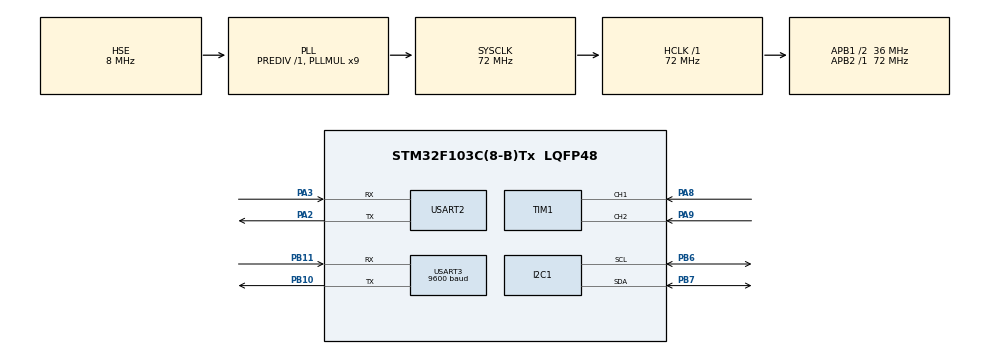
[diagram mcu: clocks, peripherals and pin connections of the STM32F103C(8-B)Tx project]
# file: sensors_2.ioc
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Mcu.Family=STM32F1
Mcu.Name=STM32F103C(8-B)Tx
Mcu.Package=LQFP48
NVIC.I2C1_ER_IRQn=true\:0\:0\:false\:false\:true\:true\:true
NVIC.I2C1_EV_IRQn=true\:0\:0\:false\:false\:true\:true\:true
NVIC.PriorityGroup=NVIC_PRIORITYGROUP_4
NVIC.TIM3_IRQn=true\:0\:0\:false\:false\:true\:true\:true
NVIC.USART2_IRQn=true\:0\:0\:false\:false\:true\:true\:true
NVIC.USART3_IRQn=true\:0\:0\:true\:false\:true\:true\:true
PA13.Mode=Serial_Wire
PA13.Signal=SYS_JTMS-SWDIO
PA14.Mode=Serial_Wire
PA14.Signal=SYS_JTCK-SWCLK
PA2.Mode=Asynchronous
PA2.Signal=USART2_TX
PA3.Mode=Asynchronous
PA3.Signal=USART2_RX
PA8.GPIO_PuPd=GPIO_PULLUP
PA8.Signal=S_TIM1_CH1
PA9.GPIO_PuPd=GPIO_PULLUP
PA9.Signal=S_TIM1_CH2
PB10.Mode=Asynchronous
PB10.Signal=USART3_TX
PB11.Mode=Asynchronous
PB11.Signal=USART3_RX
PB6.Mode=I2C
PB6.Signal=I2C1_SCL
PB7.Mode=I2C
PB7.Signal=I2C1_SDA
PD0-OSC_IN.Mode=HSE-External-Oscillator
PD0-OSC_IN.Signal=RCC_OSC_IN
PD1-OSC_OUT.Mode=HSE-External-Oscillator
PD1-OSC_OUT.Signal=RCC_OSC_OUT
ProjectManager.HeapSize=0x200
ProjectManager.StackSize=0x400
ProjectManager.TargetToolchain=STM32CubeIDE
RCC.AHBFreq_Value=72000000
RCC.APB1CLKDivider=RCC_HCLK_DIV2
RCC.APB1Freq_Value=36000000
RCC.APB1TimFreq_Value=72000000
RCC.APB2Freq_Value=72000000
RCC.APB2TimFreq_Value=72000000
RCC.HCLKFreq_Value=72000000
RCC.PLLMUL=RCC_PLL_MUL9
RCC.PLLSourceVirtual=RCC_PLLSOURCE_HSE
RCC.SYSCLKFreq_VALUE=72000000
RCC.SYSCLKSource=RCC_SYSCLKSOURCE_PLLCLK
RCC.USBFreq_Value=72000000
SH.S_TIM1_CH1.0=TIM1_CH1,Encoder_Interface
SH.S_TIM1_CH2.0=TIM1_CH2,Encoder_Interface
TIM1.AutoReloadPreload=TIM_AUTORELOAD_PRELOAD_ENABLE
TIM1.EncoderMode=TIM_ENCODERMODE_TI12
TIM1.IC1Filter=15
TIM1.IC2Filter=15
TIM3.AutoReloadPreload=TIM_AUTORELOAD_PRELOAD_ENABLE
USART2.VirtualMode=VM_ASYNC
USART3.BaudRate=9600
USART3.VirtualMode=VM_ASYNC
VP_TIM3_VS_ClockSourceINT.Mode=Internal
board=custom

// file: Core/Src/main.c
/* USER CODE BEGIN Header */
/**
  ******************************************************************************
  * @file           : main.c
  * @brief          : Main program body
  ******************************************************************************
  * @attention
  *
  * Copyright (c) 2022 STMicroelectronics.
  * All rights reserved.
  *
  * This software is licensed under terms that can be found in the LICENSE file
  * in the root directory of this software component.
  * If no LICENSE file comes with this software, it is provided AS-IS.
  *
  ******************************************************************************
  */
/* USER CODE END Header */
#include "main.h"
#include "i2c.h"
#include "tim.h"
#include "usart.h"
#include "gpio.h"

/* USER CODE BEGIN Includes */
#include "analysis.h"
#include "rotary.h"
#include "imu.h"
#include "uartRingBuffer.h"
#include "NMEA.h"
/* USER CODE END Includes */

/* USER CODE BEGIN PV */
extern char bufferRX[RX_SIZE];
extern char bufferTX[TX_SIZE];
char RMC[100];

/* USER CODE END PV */

void SystemClock_Config(void);

int main(void)
{

  /* MCU Configuration--------------------------------------------------------*/

  /* Reset of all peripherals, Initializes the Flash interface and the Systick. */
  HAL_Init();

  /* Configure the system clock */
  SystemClock_Config();

  /* Initialize all configured peripherals */
  MX_GPIO_Init();
  MX_USART2_UART_Init();
  MX_I2C1_Init();
  MX_TIM1_Init();
  MX_TIM3_Init();
  MX_USART3_UART_Init();
  /* USER CODE BEGIN 2 */
  Ringbuf_init();
  HAL_Delay(500);
  HAL_ROTARY_Start(&htim1, &htim3, 8000);
  HAL_IMU_Init(&hi2c1);
  HAL_Delay(2000);

  /* USER CODE END 2 */

  /* Infinite loop */
  while (1)
  {

    /* USER CODE BEGIN 3 */
	  if(Wait_for("RMC") == 1)
	  {
	  	Copy_upto("*", RMC);
	  	getGPSData();

	  }
	  HAL_IMU_Read(&hi2c1, &himu);
	  HAL_UART_Receive(&huart2, bufferRX, sizeof(bufferRX), 0xFFFF);
	  resetBuffersIndexes();
	  getNeighborData();
	  getCarData();
	  analysis();
	  generateTransmitBuffer();
	  HAL_UART_Transmit(&huart2, bufferTX, sizeof(bufferTX), 0xFF);
  }
  /* USER CODE END 3 */
}

void SystemClock_Config(void)
{
  RCC_OscInitTypeDef RCC_OscInitStruct = {0};
  RCC_ClkInitTypeDef RCC_ClkInitStruct = {0};

  /** Initializes the RCC Oscillators according to the specified parameters
  * in the RCC_OscInitTypeDef structure.
  */
  RCC_OscInitStruct.OscillatorType = RCC_OSCILLATORTYPE_HSE;
  RCC_OscInitStruct.HSEState = RCC_HSE_ON;
  RCC_OscInitStruct.HSEPredivValue = RCC_HSE_PREDIV_DIV1;
  RCC_OscInitStruct.HSIState = RCC_HSI_ON;
  RCC_OscInitStruct.PLL.PLLState = RCC_PLL_ON;
  RCC_OscInitStruct.PLL.PLLSource = RCC_PLLSOURCE_HSE;
  RCC_OscInitStruct.PLL.PLLMUL = RCC_PLL_MUL9;
  if (HAL_RCC_OscConfig(&RCC_OscInitStruct) != HAL_OK)
  {
    Error_Handler();
  }
  /** Initializes the CPU, AHB and APB buses clocks
  */
  RCC_ClkInitStruct.ClockType = RCC_CLOCKTYPE_HCLK|RCC_CLOCKTYPE_SYSCLK
                              |RCC_CLOCKTYPE_PCLK1|RCC_CLOCKTYPE_PCLK2;
  RCC_ClkInitStruct.SYSCLKSource = RCC_SYSCLKSOURCE_PLLCLK;
  RCC_ClkInitStruct.AHBCLKDivider = RCC_SYSCLK_DIV1;
  RCC_ClkInitStruct.APB1CLKDivider = RCC_HCLK_DIV2;
  RCC_ClkInitStruct.APB2CLKDivider = RCC_HCLK_DIV1;

  if (HAL_RCC_ClockConfig(&RCC_ClkInitStruct, FLASH_LATENCY_2) != HAL_OK)
  {
    Error_Handler();
  }
}

void Error_Handler(void)
{
  __disable_irq();
  while (1)
  {
  }
}
